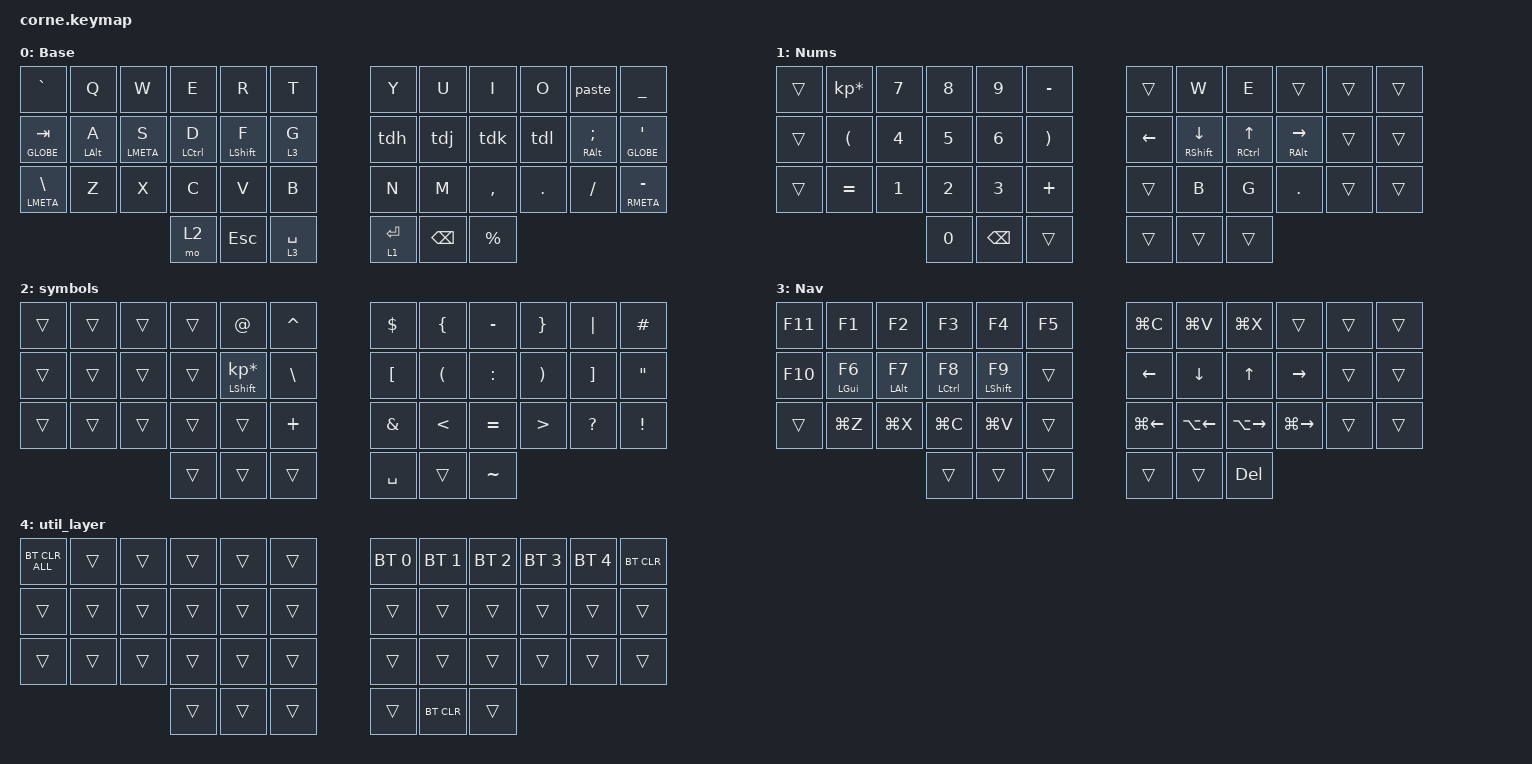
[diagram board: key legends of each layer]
/*
 * Copyright (c) 2020 The ZMK Contributors
 *
 * SPDX-License-Identifier: MIT
 */

#include <behaviors.dtsi>
#include <dt-bindings/zmk/bt.h>
#include <dt-bindings/zmk/keys.h>

/ {
    combos {
        compatible = "zmk,combos";

        utils_layer {
            bindings = <&mo 4>;
            key-positions = <24 35>;
            layers = <0>;
        };

        cw_right {
            bindings = <&caps_word>;
            key-positions = <19 7>;
            layers = <0>;
        };

        cap_v {
            bindings = <&kp LS(V)>;
            key-positions = <28 16>;
        };

        cw_left {
            bindings = <&none>;
            key-positions = <4 16>;
        };

        ctrl-s {
            bindings = <&kp LC(S)>;
            key-positions = <14 15>;
        };

        bslash {
            bindings = <&kp BSLH>;
            key-positions = <22 21>;
            layers = <0>;
        };
    };

    macros {
        paste_vim: paste_vim {
            compatible = "zmk,behavior-macro";
            #binding-cells = <0>;
            bindings = <&kp DQT &kp N0 &kp P>;
            label = "PASTE_VIM";
        };
    };

    behaviors {
        short_layer: short_layer {
            compatible = "zmk,behavior-hold-tap";
            label = "SHORT_LAYER";
            bindings = <&mo>, <&kp>;

            #binding-cells = <2>;
            tapping-term-ms = <150>;
            flavor = "tap-preferred";
            quick-tap-ms = <50>;
            retro-tap;
        };

        hrm: hrm {
            compatible = "zmk,behavior-hold-tap";
            label = "HRM";
            bindings = <&kp>, <&kp>;

            #binding-cells = <2>;
            flavor = "balanced";
            tapping-term-ms = <250>;
            quick-tap-ms = <170>;
            require-prior-idle-ms = <150>;
            hold-trigger-on-release;
        };

        upper_v: upper_v {
            compatible = "zmk,behavior-tap-dance";
            label = "UPPER_V";
            #binding-cells = <0>;
            bindings = <&kp V>, <&kp RS(V)>;

            tapping-term-ms = <150>;
        };

        paste: paste {
            compatible = "zmk,behavior-tap-dance";
            label = "PASTE";
            #binding-cells = <0>;
            bindings = <&kp P>, <&paste_vim>;

            tapping-term-ms = <150>;
        };

        hrl: hrl {
            compatible = "zmk,behavior-hold-tap";
            label = "HRL";
            bindings = <&mo>, <&kp>;

            #binding-cells = <2>;
            flavor = "balanced";
            tapping-term-ms = <250>;
            quick-tap-ms = <170>;
            require-prior-idle-ms = <150>;
            hold-trigger-on-release;
        };

        tdj: tdj {
            compatible = "zmk,behavior-tap-dance";
            label = "J";
            #binding-cells = <0>;
            bindings = <&hrm RSHFT J>, <&hr 0 0>;

            tapping-term-ms = <100>;
        };

        hr: hold_repeat {
            compatible = "zmk,behavior-hold-tap";
            label = "HR";
            bindings = <&key_repeat>, <&key_repeat>;

            #binding-cells = <2>;
            tapping-term-ms = <50>;
            flavor = "balanced";
        };

        tdh: tdh {
            compatible = "zmk,behavior-tap-dance";
            label = "H";
            #binding-cells = <0>;
            bindings = <&hrm RSHFT H>, <&hr 0 0>;

            tapping-term-ms = <100>;
        };

        tdk: tdk {
            compatible = "zmk,behavior-tap-dance";
            label = "K";
            #binding-cells = <0>;
            bindings = <&hrm RCTRL K>, <&hr 0 0>;

            tapping-term-ms = <100>;
        };

        tdl: tdl {
            compatible = "zmk,behavior-tap-dance";
            label = "L";
            #binding-cells = <0>;
            bindings = <&hrm RMETA L>, <&hr 0 0>;

            tapping-term-ms = <100>;
        };

        new_behavior: new_behavior {
            compatible = "zmk,behavior-tap-dance";
            label = "NEW_BEHAVIOR";
            #binding-cells = <0>;
            bindings = <&hrm RALT K>, <&hr 0 0>;

            tapping-term-ms = <100>;
        };
    };

    keymap {
        compatible = "zmk,keymap";

        main_layer {
            // -----------------------------------------------------------------------------------------
            // |  TAB |  Q  |  W  |  E  |  R  |  T  |   |  Y  |  U   |  I  |  O  |  P  | BKSP |
            // | CTRL |  A  |  S  |  D  |  F  |  G  |   |  H  |  J   |  K  |  L  |  ;  |  '   |
            // | SHFT |  Z  |  X  |  C  |  V  |  B  |   |  N  |  M   |  ,  |  .  |  /  | ESC  |
            //                    | GUI | LWR | SPC |   | ENT | RSE  | ALT |

            display-name = "Base";
            bindings = <
&kp GRAVE             &kp Q        &kp W         &kp E         &kp R         &kp T           &kp Y         &kp U          &kp I        &kp O    &paste          &kp UNDER
&hrm GLOBE TAB        &hrm LALT A  &hrm LMETA S  &hrm LCTRL D  &hrm LSHFT F  &hrl 3 G        &tdh          &tdj           &tdk         &tdl     &hrm RALT SEMI  &hrm GLOBE SQT
&hrm LMETA BACKSLASH  &kp Z        &kp X         &kp C         &kp V         &kp B           &kp N         &kp M          &kp COMMA    &kp DOT  &kp SLASH       &hrm RMETA MINUS
                                                 &mo 2         &kp ESCAPE    &hrl 3 SPACE    &hrl 1 ENTER  &kp BACKSPACE  &kp PERCENT
            >;
        };

        numbers_layer {
            // -----------------------------------------------------------------------------------------
            // |  TAB |  1  |  2  |  3  |  4  |  5  |   |  6  |  7  |  8  |  9  |  0  | BKSP |
            // | BTCLR| BT1 | BT2 | BT3 | BT4 | BT5 |   | LFT | DWN |  UP | RGT |     |      |
            // | SHFT |     |     |     |     |     |   |     |     |     |     |     |      |
            //                    | GUI |     | SPC |   | ENT |     | ALT |

            display-name = "Nums";
            bindings = <
&trans  &kp KP_MULTIPLY       &kp N7  &kp N8  &kp N9         &kp MINUS                &trans    &kp W                  &kp E                &trans           &trans  &trans
&trans  &kp LEFT_PARENTHESIS  &kp N4  &kp N5  &kp N6         &kp RIGHT_PARENTHESIS    &kp LEFT  &hrm RIGHT_SHIFT DOWN  &hrm RCTRL UP_ARROW  &hrm RALT RIGHT  &trans  &trans
&trans  &kp EQUAL             &kp N1  &kp N2  &kp N3         &kp PLUS                 &trans    &kp B                  &kp G                &kp PERIOD       &trans  &trans
                                      &kp N0  &kp BACKSPACE  &trans                   &trans    &trans                 &trans
            >;
        };

        symbols {
            bindings = <
&trans  &trans  &trans  &trans  &kp AT                       &kp CARET        &kp DOLLAR        &kp LEFT_BRACE        &kp MINUS  &kp RIGHT_BRACE        &kp PIPE           &kp HASH
&trans  &trans  &trans  &trans  &hrm LEFT_SHIFT KP_MULTIPLY  &kp BACKSLASH    &kp LEFT_BRACKET  &kp LEFT_PARENTHESIS  &kp COLON  &kp RIGHT_PARENTHESIS  &kp RIGHT_BRACKET  &kp DOUBLE_QUOTES
&trans  &trans  &trans  &trans  &trans                       &kp PLUS         &kp AMPERSAND     &kp LESS_THAN         &kp EQUAL  &kp GREATER_THAN       &kp QUESTION       &kp EXCLAMATION
                        &trans  &trans                       &trans           &kp SPACE         &trans                &kp TILDE
            >;
        };

        navigation {
            // -----------------------------------------------------------------------------------------
            // |  TAB |  !  |  @  |  #  |  $  |  %  |   |  ^  |  &  |  *  |  (  |  )  | BKSP |
            // | CTRL |     |     |     |     |     |   |  -  |  =  |  [  |  ]  |  \  |  `   |
            // | SHFT |     |     |     |     |     |   |  _  |  +  |  {  |  }  | "|" |  ~   |
            //                    | GUI |     | SPC |   | ENT |     | ALT |

            display-name = "Nav";
            bindings = <
&kp F11  &kp F1        &kp F2        &kp F3         &kp F4         &kp F5    &kp LG(C)     &kp LG(V)     &kp LG(X)      &trans         &trans  &trans
&kp F10  &hrm LGUI F6  &hrm LALT F7  &hrm LCTRL F8  &hrm LSHFT F9  &trans    &kp LEFT      &kp DOWN      &kp UP_ARROW   &kp RIGHT      &trans  &trans
&trans   &kp LG(Z)     &kp LG(X)     &kp LG(C)      &kp LG(V)      &trans    &kp LG(LEFT)  &kp LA(LEFT)  &kp LA(RIGHT)  &kp LG(RIGHT)  &trans  &trans
                                     &trans         &trans         &trans    &trans        &trans        &kp DELETE
            >;
        };

        util_layer {
            bindings = <
&bt BT_CLR_ALL  &trans  &trans  &trans  &trans  &trans    &bt BT_SEL 0  &bt BT_SEL 1  &bt BT_SEL 2  &bt BT_SEL 3  &bt BT_SEL 4  &bt BT_CLR
&trans          &trans  &trans  &trans  &trans  &trans    &trans        &trans        &trans        &trans        &trans        &trans
&trans          &trans  &trans  &trans  &trans  &trans    &trans        &trans        &trans        &trans        &trans        &trans
                                &trans  &trans  &trans    &trans        &bt BT_CLR    &trans
            >;
        };
    };
};
